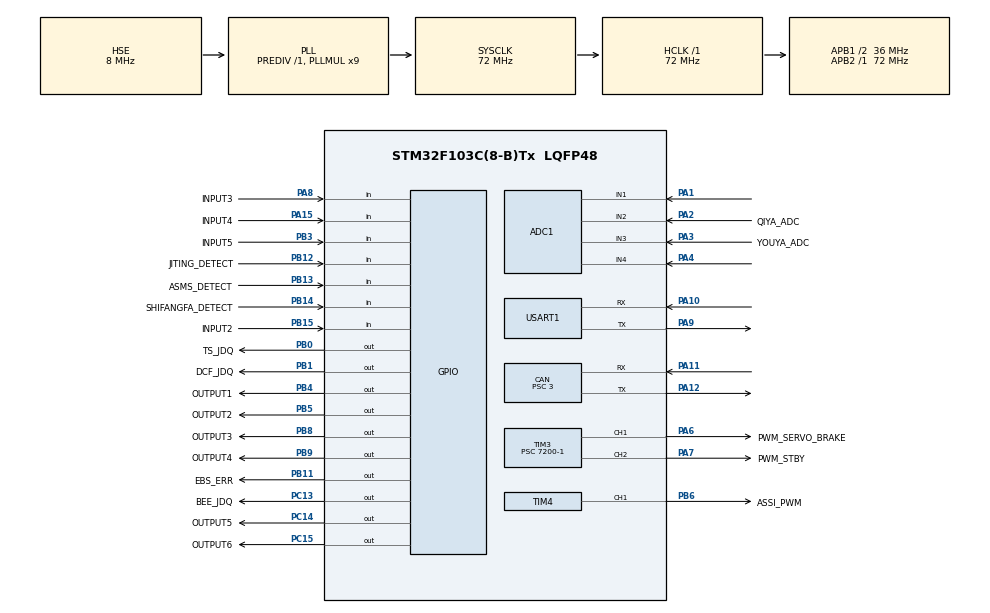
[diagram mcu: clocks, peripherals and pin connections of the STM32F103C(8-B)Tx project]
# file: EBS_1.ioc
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ADC1.Channel-0\#ChannelRegularConversion=ADC_CHANNEL_1
ADC1.Channel-1\#ChannelRegularConversion=ADC_CHANNEL_2
ADC1.Channel-2\#ChannelRegularConversion=ADC_CHANNEL_3
ADC1.Channel-3\#ChannelRegularConversion=ADC_CHANNEL_4
ADC1.DiscontinuousConvMode=ENABLE
ADC1.NbrOfConversion=4
ADC1.NbrOfConversionFlag=1
ADC1.Rank-0\#ChannelRegularConversion=1
ADC1.Rank-1\#ChannelRegularConversion=2
ADC1.Rank-2\#ChannelRegularConversion=3
ADC1.Rank-3\#ChannelRegularConversion=4
ADC1.SamplingTime-0\#ChannelRegularConversion=ADC_SAMPLETIME_1CYCLE_5
ADC1.SamplingTime-1\#ChannelRegularConversion=ADC_SAMPLETIME_1CYCLE_5
ADC1.SamplingTime-2\#ChannelRegularConversion=ADC_SAMPLETIME_1CYCLE_5
ADC1.SamplingTime-3\#ChannelRegularConversion=ADC_SAMPLETIME_1CYCLE_5
ADC1.master=1
CAN.AWUM=ENABLE
CAN.BS1=CAN_BS1_6TQ
CAN.BS2=CAN_BS2_5TQ
CAN.CalculateBaudRate=999999
CAN.CalculateTimeBit=1000
CAN.CalculateTimeQuantum=83.33333333333334
CAN.Mode=CAN_MODE_NORMAL
CAN.NART=ENABLE
CAN.Prescaler=3
Mcu.Family=STM32F1
Mcu.Name=STM32F103C(8-B)Tx
Mcu.Package=LQFP48
NVIC.PriorityGroup=NVIC_PRIORITYGROUP_4
NVIC.TIM3_IRQn=true\:1\:0\:true\:false\:true\:true\:true\:true
NVIC.TIM4_IRQn=true\:6\:0\:true\:false\:true\:true\:true\:true
NVIC.USB_LP_CAN1_RX0_IRQn=true\:0\:0\:false\:false\:true\:true\:true\:true
PA1.Signal=ADCx_IN1
PA10.Mode=Asynchronous
PA10.Signal=USART1_RX
PA11.Mode=CAN_Activate
PA11.Signal=CAN_RX
PA12.Mode=CAN_Activate
PA12.Signal=CAN_TX
PA13.Mode=Serial_Wire
PA13.Signal=SYS_JTMS-SWDIO
PA14.Mode=Serial_Wire
PA14.Signal=SYS_JTCK-SWCLK
PA15.GPIO_Label=INPUT4
PA15.Signal=GPIO_Input
PA2.GPIO_Label=QIYA_ADC
PA2.Signal=ADCx_IN2
PA3.GPIO_Label=YOUYA_ADC
PA3.Signal=ADCx_IN3
PA4.Signal=ADCx_IN4
PA6.GPIO_Label=PWM_SERVO_BRAKE
PA6.Signal=S_TIM3_CH1
PA7.GPIO_Label=PWM_STBY
PA7.Signal=S_TIM3_CH2
PA8.GPIO_Label=INPUT3
PA8.Signal=GPIO_Input
PA9.Mode=Asynchronous
PA9.Signal=USART1_TX
PB0.GPIO_Label=TS_JDQ
PB0.Signal=GPIO_Output
PB1.GPIO_Label=DCF_JDQ
PB1.GPIO_PuPd=GPIO_NOPULL
PB1.Signal=GPIO_Output
PB11.GPIO_Label=EBS_ERR
PB11.PinState=GPIO_PIN_SET
PB11.Signal=GPIO_Output
PB12.GPIO_Label=JITING_DETECT
PB12.Signal=GPIO_Input
PB13.GPIO_Label=ASMS_DETECT
PB13.GPIO_PuPd=GPIO_PULLUP
PB13.Signal=GPIO_Input
PB14.GPIO_Label=SHIFANGFA_DETECT
PB14.Signal=GPIO_Input
PB15.GPIO_Label=INPUT2
PB15.Signal=GPIO_Input
PB3.GPIO_Label=INPUT5
PB3.Signal=GPIO_Input
PB4.GPIO_Label=OUTPUT1
PB4.Signal=GPIO_Output
PB5.GPIO_Label=OUTPUT2
PB5.Signal=GPIO_Output
PB6.GPIO_Label=ASSI_PWM
PB6.Signal=S_TIM4_CH1
PB8.GPIO_Label=OUTPUT3
PB8.Signal=GPIO_Output
PB9.GPIO_Label=OUTPUT4
PB9.Signal=GPIO_Output
PC13-TAMPER-RTC.GPIO_Label=BEE_JDQ
PC13-TAMPER-RTC.Signal=GPIO_Output
PC14-OSC32_IN.GPIO_Label=OUTPUT5
PC14-OSC32_IN.Signal=GPIO_Output
PC15-OSC32_OUT.GPIO_Label=OUTPUT6
PC15-OSC32_OUT.Signal=GPIO_Output
PD0-OSC_IN.Mode=HSE-External-Oscillator
PD0-OSC_IN.Signal=RCC_OSC_IN
PD1-OSC_OUT.Mode=HSE-External-Oscillator
PD1-OSC_OUT.Signal=RCC_OSC_OUT
ProjectManager.HeapSize=0x200
ProjectManager.StackSize=0x400
ProjectManager.TargetToolchain=STM32CubeIDE
RCC.ADCPresc=RCC_ADCPCLK2_DIV6
RCC.AHBFreq_Value=72000000
RCC.APB1CLKDivider=RCC_HCLK_DIV2
RCC.APB1Freq_Value=36000000
RCC.APB1TimFreq_Value=72000000
RCC.APB2Freq_Value=72000000
RCC.APB2TimFreq_Value=72000000
RCC.HCLKFreq_Value=72000000
RCC.PLLMUL=RCC_PLL_MUL9
RCC.PLLSourceVirtual=RCC_PLLSOURCE_HSE
RCC.SYSCLKFreq_VALUE=72000000
RCC.SYSCLKSource=RCC_SYSCLKSOURCE_PLLCLK
RCC.USBFreq_Value=72000000
SH.ADCx_IN1.0=ADC1_IN1,IN1
SH.ADCx_IN2.0=ADC1_IN2,IN2
SH.ADCx_IN3.0=ADC1_IN3,IN3
SH.ADCx_IN4.0=ADC1_IN4,IN4
SH.S_TIM3_CH1.0=TIM3_CH1,PWM Generation1 CH1
SH.S_TIM3_CH2.0=TIM3_CH2,PWM Generation2 CH2
SH.S_TIM4_CH1.0=TIM4_CH1,PWM Generation1 CH1
TIM2.Period=90-1
TIM3.Channel-PWM\ Generation1\ CH1=TIM_CHANNEL_1
TIM3.Channel-PWM\ Generation2\ CH2=TIM_CHANNEL_2
TIM3.Period=2000-1
TIM3.Prescaler=7200-1
TIM4.Channel-PWM\ Generation1\ CH1=TIM_CHANNEL_1
TIM4.Period=500-1
TIM4.Prescaler=7200-1
USART1.VirtualMode=VM_ASYNC
VP_TIM2_VS_ClockSourceINT.Mode=Internal
VP_TIM3_VS_ClockSourceINT.Mode=Internal
VP_TIM4_VS_ClockSourceINT.Mode=Internal
board=custom

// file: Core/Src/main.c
/* USER CODE BEGIN Header */
/**
  ******************************************************************************
  * @file           : main.c
  * @brief          : Main program body
  ******************************************************************************
  * @attention
  *
  * Copyright (c) 2025 STMicroelectronics.
  * All rights reserved.
  *
  * This software is licensed under terms that can be found in the LICENSE file
  * in the root directory of this software component.
  * If no LICENSE file comes with this software, it is provided AS-IS.
  *
  ******************************************************************************
  */
/* USER CODE END Header */
#include "main.h"
#include "adc.h"
#include "can.h"
#include "tim.h"
#include "usart.h"
#include "gpio.h"

/* USER CODE BEGIN Includes */
#include "stdio.h"
#include "user_can.h"
#include "user_adc.h"
#include "user_rgb.h"
#include "user_peripheral.h"
#include "user_AS_State.h"
#include "user_ebs.h"
/* USER CODE END Includes */

/* USER CODE BEGIN PV */
uint8_t EBS_Able_State=EBS_Disable;
uint16_t adc_value[4];
uint8_t AS_State=AS_Off;

uint8_t Sensor_State=Sensor_OK;
uint8_t YOUYA_State=YOUYA_Error;
uint8_t QIYA_State=QIYA_Error;

uint8_t EBS_State=0;
uint8_t EBS_to_Trigger;
uint8_t EBS_Error_State;
uint8_t EBS_Error_to_Trigger;
uint8_t JITING_State=0;
volatile uint8_t blink_enabled = 0; //0 不闪烁  1蓝灯闪烁  2黄灯闪烁
volatile uint8_t led_state = 0;
/* USER CODE END PV */

void SystemClock_Config(void);
/* USER CODE BEGIN PFP */

void EBS_Detect()
{
	//if(JITING_State==1||)
}
void User_Init()
{
	EBS_Error_LED_Activate();
	DCF_DeActivate();
	BEE_DeActivate();
}

/* USER CODE END PFP */

int main(void)
{

  /* MCU Configuration--------------------------------------------------------*/

  /* Reset of all peripherals, Initializes the Flash interface and the Systick. */
  HAL_Init();

  /* Configure the system clock */
  SystemClock_Config();

  /* Initialize all configured peripherals */
  MX_GPIO_Init();
  MX_ADC1_Init();
  MX_CAN_Init();
  MX_TIM2_Init();
  MX_TIM3_Init();
  MX_TIM4_Init();
  MX_USART1_UART_Init();
  /* USER CODE BEGIN 2 */
  User_Init();
  CAN_Init();
  HAL_TIM_Base_Start_IT(&htim3);
  //DCF_Activate();
//  ASSI_Yellow_Stable();
 // ASSI_Yellow_Blink();
  ASSI_OFF();
  CAN_SendMessage(100,101);
  /* USER CODE END 2 */

  /* Infinite loop */
  /* USER CODE BEGIN WHILE */
  while (1)
  {

     //YOUYA_QIYA_Detect();
     //EBS_Able_Detect();
     //AS_State_Detect();

	  //HAL_UART_Transmit(&huart1, "CAN_ReadMsg Succeed", 19, 10);

	 // ASSI_Yellow_Stable();
	 //qiya_compare();
	// youya_compare();

    /* USER CODE END WHILE */

  }
}

void SystemClock_Config(void)
{
  RCC_OscInitTypeDef RCC_OscInitStruct = {0};
  RCC_ClkInitTypeDef RCC_ClkInitStruct = {0};
  RCC_PeriphCLKInitTypeDef PeriphClkInit = {0};

  /** Initializes the RCC Oscillators according to the specified parameters
  * in the RCC_OscInitTypeDef structure.
  */
  RCC_OscInitStruct.OscillatorType = RCC_OSCILLATORTYPE_HSE;
  RCC_OscInitStruct.HSEState = RCC_HSE_ON;
  RCC_OscInitStruct.HSEPredivValue = RCC_HSE_PREDIV_DIV1;
  RCC_OscInitStruct.HSIState = RCC_HSI_ON;
  RCC_OscInitStruct.PLL.PLLState = RCC_PLL_ON;
  RCC_OscInitStruct.PLL.PLLSource = RCC_PLLSOURCE_HSE;
  RCC_OscInitStruct.PLL.PLLMUL = RCC_PLL_MUL9;
  if (HAL_RCC_OscConfig(&RCC_OscInitStruct) != HAL_OK)
  {
    Error_Handler();
  }

  /** Initializes the CPU, AHB and APB buses clocks
  */
  RCC_ClkInitStruct.ClockType = RCC_CLOCKTYPE_HCLK|RCC_CLOCKTYPE_SYSCLK
                              |RCC_CLOCKTYPE_PCLK1|RCC_CLOCKTYPE_PCLK2;
  RCC_ClkInitStruct.SYSCLKSource = RCC_SYSCLKSOURCE_PLLCLK;
  RCC_ClkInitStruct.AHBCLKDivider = RCC_SYSCLK_DIV1;
  RCC_ClkInitStruct.APB1CLKDivider = RCC_HCLK_DIV2;
  RCC_ClkInitStruct.APB2CLKDivider = RCC_HCLK_DIV1;

  if (HAL_RCC_ClockConfig(&RCC_ClkInitStruct, FLASH_LATENCY_2) != HAL_OK)
  {
    Error_Handler();
  }
  PeriphClkInit.PeriphClockSelection = RCC_PERIPHCLK_ADC;
  PeriphClkInit.AdcClockSelection = RCC_ADCPCLK2_DIV6;
  if (HAL_RCCEx_PeriphCLKConfig(&PeriphClkInit) != HAL_OK)
  {
    Error_Handler();
  }
}

void Error_Handler(void)
{
  __disable_irq();
  while (1)
  {
  }
}
